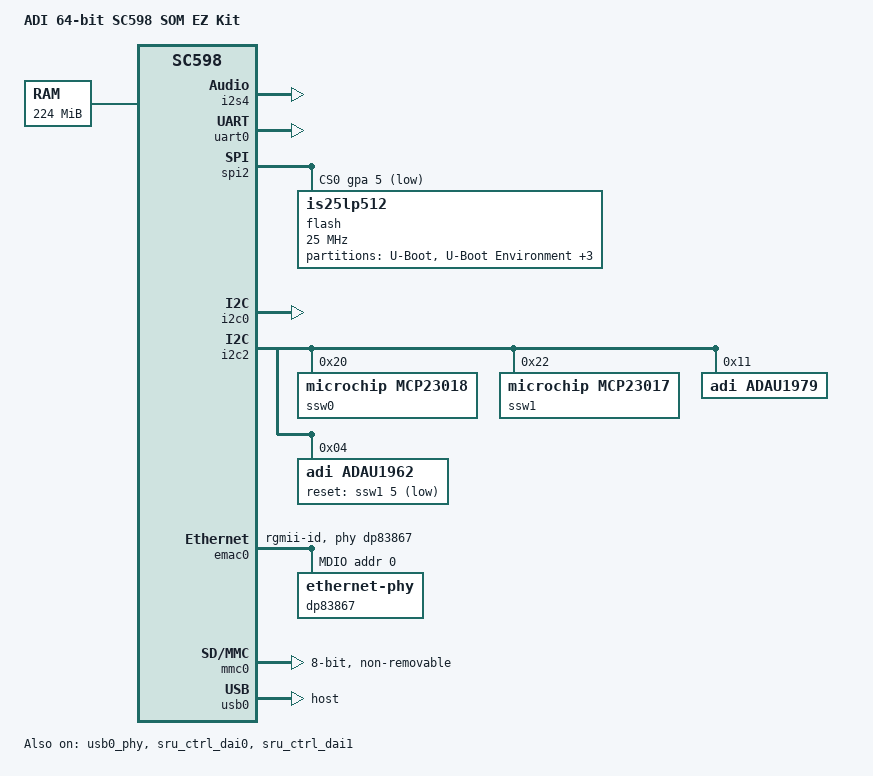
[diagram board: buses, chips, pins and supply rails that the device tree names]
/*
 * Copyright (c) 2021 Analog Devices Incorporated
 * Author: Nathan Barrett-Morrison <nathan.morrison@timesys.com>
 */

/dts-v1/;

#include <dt-bindings/gpio/gpio.h>
#include <dt-bindings/net/ti-dp83867.h>
#include <dt-bindings/pinctrl/adi-adsp.h>
#include <dt-bindings/pinctrl/adi-adsp-sru.h>
#include "sc59x-64.dtsi"

/ {
	model = "ADI 64-bit SC598 SOM EZ Kit";
	compatible = "adi,sc598-som-ezkit", "adi,sc59x-64";

	chosen {
		stdout-path = &uart1;
		bootargs = "root=/dev/mtdblock4 rw rootfstype=jffs2 earlycon=adi_uart,0x31003000 console=ttySC0,115200 mem=224M";
	};

	memory@90000000 {
		device_type = "memory";
		reg = <0x90000000 0x0e000000>;
	};

	reserved-memory {
		vdev0vrings: vdev0vring0@20080000 {
			reg = <0x20080000 0x4000>;
			no-map;
		};

		vdev0buffer: vdev0buffer@20084000 {
			compatible = "shared-dma-pool";
			reg = <0x20084000 0x20000>;
			no-map;
		};

		vdev1vrings: vdev0vring0@200A4000 {
			reg = <0x200A4000 0x4000>;
			no-map;
		};

		vdev1buffer: vdev0buffer@200A8000 {
			compatible = "shared-dma-pool";
			reg = <0x200A8000 0x20000>;
			no-map;
		};
	};

	sram2: sram-reserved@200C8000 {
		compatible = "mmio-sram";
		#address-cells = <1>;
		#size-cells = <1>;
		reg = <0x200C8000 0x138000>;
		ranges = <0 0x200C8000 0x138000>; /*1248KiB*/
	};

	scb {
		sharc0: core1-rproc@0x28240000 {
			compatible = "adi,remoteproc";
			reg = <0x28240000 0x160000>,
					<0x20000000 0x200000>;
			core-id = <1>;
			core-irq = <106>; /* SOFT1 */
			firmware-name = "adi_adsp_core1_fw.ldr";
			interrupts = <GIC_SPI 337 IRQ_TYPE_EDGE_RISING>; /* TRU0_SLV3 */
			adi,rcu = <&rcu>;
			adi,l1-da = <0x240000 0x3a0000>;
			adi,l2-da = <0x20000000 0x20200000>;
			adi,rsc-table = <&rsc_tbl0>;
			adi,verify = <1>;
			adi,tru = <&tru>;
			adi,tru-master-id = <135>; /* trigger master SOFT4 */
			status = "okay";
		};

		sharc1: core2-rproc@0x28a40000 {
			compatible = "adi,remoteproc";
			reg = <0x28a40000 0x160000>,
					<0x20000000 0x200000>;
			core-id = <2>;
			core-irq = <107>; /* SOFT2 */
			firmware-name = "adi_adsp_core2_fw.ldr";
			interrupts = <GIC_SPI 337 IRQ_TYPE_EDGE_RISING>; /* TRU0_SLV3 */
			adi,rcu = <&rcu>;
			adi,l1-da = <0x240000 0x3a0000>;
			adi,l2-da = <0x20000000 0x20200000>;
			adi,rsc-table = <&rsc_tbl1>;
			adi,verify = <1>;
			adi,tru = <&tru>;
			adi,tru-master-id = <136>; /* trigger master SOFT5 */
			status = "okay";
		};

		sound {
			compatible = "sc5xx,asoc-card";
			adi,cpu-dai = <&i2s4>;
			adi,codec = <&adau1962>, <&adau1979>;
		};

//		firmware {
//			optee {
//				compatible = "linaro,optee-tz";
//				method = "smc";
//			};
//		};

	};

};

&i2s4 {
	pinctrl-names = "default";
	pinctrl-0 = <&sru_dai1>;
	status = "okay";
};

&tru {
	rpmsg_to_a55: channel@0 {
		adi,tru-master-id = <134>; /* trigger master SOFT3 */
		adi,tru-slave-id = <160>; /* TRU0_IRQ3 */
	};
	rpmsg_to_sharc0: channel@1 {
		adi,tru-master-id = <135>; /* trigger master SOFT4 */
		adi,tru-slave-id = <164>; /* TRU0_IRQ7 */
	};
	rpmsg_to_sharc1: channel@2 {
		adi,tru-master-id = <136>; /* trigger master SOFT5 */
		adi,tru-slave-id = <168>; /* TRU0_IRQ11 */
	};
};

&thermal {
	status = "okay";
	adi,gain = <0x6>;
	adi,offset = <0x7D86>;
	adi,trip-alert = <60>;
	adi,trip-fault = <85>;
	/* adi,average; */
};

&uart0 {
	/* enable-pin = <&ssw0 5 GPIO_ACTIVE_LOW>;	 UART0_EN */
	/* hwflow-en-pin = <&ssw0 6 GPIO_ACTIVE_LOW>;  UART0_FLOW_EN */
	pinctrl-names = "default";
	pinctrl-0 = <&uart0_default>;
	status = "okay";
};

&spi0 {
	pinctrl-names = "default";
	pinctrl-0 = <&spi0_default>;
	status = "disabled";

	spidev@9{
		compatible = "adi,generic-spidev";
		reg = <9>;  // SPI0_SSEL1 / GPIO_PA9
		spi-max-frequency = <4000000>;
	};
};

&spi1 {
	pinctrl-names = "default";
	pinctrl-0 = <&spi1_default>;
	status = "disabled";
	cs-gpios = <&gpa 13 GPIO_ACTIVE_LOW>;

	spidev@0 {
		compatible = "adi,generic-spidev";
		reg = <0>;
		spi-max-frequency = <4000000>;
	};
};

&spi3 {
	pinctrl-names = "default";
	pinctrl-0 = <&spi3_default>;
	status = "disabled";
	cs-gpios = <&gpg 15 GPIO_ACTIVE_LOW>;

	spidev@0 {
		compatible = "adi,generic-spidev";
		reg = <0>;
		spi-max-frequency = <4000000>;
	};
};

&spi2 {
	pinctrl-names = "default";
	pinctrl-0 = <&spi2_quad>;
	status = "okay";
	cs-gpios = <&gpa 5 GPIO_ACTIVE_LOW>;

	flash: is25lp512@0 {
		#address-cells = <1>;
		#size-cells = <1>;
		compatible = "is25lp512", "jedec,spi-nor";
		reg = <0>;
		spi-cpha;
		spi-cpol;
		spi-max-frequency = <25000000>;
		spi-rx-bus-width = <4>;

		partition@0 {
			label = "U-Boot";
			reg = <0x0 0xC0000>;
		};

		partition@1 {
			label = "U-Boot Environment";
			reg = <0xC0000 0x20000>;
		};

		partition@2 {
			label = "Device Tree Blob";
			reg = <0xE0000 0x20000>;
		};

		partition@3 {
			label = "Kernel zImage";
			reg = <0x100000 0xF00000>;
		};

		partition@4 {
			label = "JFFS2 Formatted RFS";
			reg = <0x1000000 0x3000000>;
		};

	};
};

&ospi {
	pinctrl-names = "default";
	pinctrl-0 = <&ospi_default>;

	status = "disabled";

	flash0: mx66lm1g45@0 {
		#address-cells = <1>;
		#size-cells = <1>;
		compatible = "mx66lm1g45";
		reg = <0>;
		spi-max-frequency = <83333334>;

		/*m25p,fast-read;*/

		cdns,page-size = <256>;
		cdns,block-size = <16>;
		cdns,read-delay = <4>;
		cdns,tshsl-ns = <50>;
		cdns,tsd2d-ns = <50>;
		cdns,tchsh-ns = <4>;
		cdns,tslch-ns = <4>;

		partitions {
			compatible = "fixed-partitions";
			#address-cells = <1>;
			#size-cells = <1>;

			ospi_0: partition@0 {
				label = "U-Boot";
				reg = <0x0 0xC0000>;
			};

			ospi_1: partition@1 {
				label = "U-Boot Environment";
				reg = <0xC0000 0x20000>;
			};

			ospi_2: partition@2 {
				label = "Device Tree Blob";
				reg = <0xE0000 0x20000>;
			};

			ospi_3: partition@3 {
				label = "Kernel zImage";
				reg = <0x100000 0xF00000>;
			};

			ospi_4: partition@4 {
				label = "JFFS2 Formatted RFS";
				reg = <0x1000000 0x3000000>;
			};
		};
	};
};

&i2c0 {
	status = "okay";
};

&i2c1 {
	status = "disabled";
};

&i2c2 {
	status = "okay";
	pinctrl-names = "default";
	pinctrl-0 = <&i2c2_pins>;

	ssw0: gpio@0x20 {
		compatible = "microchip,mcp23018";
		gpio-controller;
		#gpio-cells = <2>;
		reg = <0x20>;
		status = "okay";

		pinctrl-names = "default";
		pinctrl-0 = <&ssw0pullups>;

		ssw0pullups: pinmux {
			bias-pull-up;
			pins = "gpio0", "gpio1", "gpio2", "gpio3",
				"gpio4", "gpio5", "gpio6", "gpio8", "gpio9";
		};

		led1 {
			gpio-hog;
			gpios = <0 0x0>;
			output-high;
			line-name = "led1-en";
		};

		led2 {
			gpio-hog;
			gpios = <1 0x0>;
			output-high;
			line-name = "led2-en";
		};

		led3 {
			gpio-hog;
			gpios = <2 0x0>;
			output-high;
			line-name = "led3-en";
		};

		spi2d2-d3 {
			gpio-hog;
			gpios = <3 0x0>;
			output-low;
			line-name = "~spi2d2-d3-en";
		};

		spi2flash-cs {
			gpio-hog;
			gpios = <4 0x0>;
			output-low;
			line-name = "~spi2flash-cs";
		};

		uart0 {
			gpio-hog;
			gpios = <5 0x0>;
			output-low;
			line-name = "~uart0-en";
		};

		uart0-flow-en {
			gpio-hog;
			gpios = <6 0x0>;
			output-high;
			line-name = "~uart0-flow-en";
		};

		emmc {
			gpio-hog;
			gpios = <8 0x0>;
			output-low;
			line-name = "emmc-en";
		};

		emmc-som-en {
			gpio-hog;
			gpios = <9 0x0>;
			output-high;
			line-name = "emmc-som-en";
		};
	};

	ssw1: gpio@0x22 {
		compatible = "microchip,mcp23017";
		gpio-controller;
		#gpio-cells = <2>;
		reg = <0x22>;
		status = "okay";

		eeprom {
			gpio-hog;
			gpios = <0 0x0>;
			output-low;
			line-name = "eeprom-en";
		};

		pushbutton {
			gpio-hog;
			gpios = <1 0x0>;
			output-low;
			line-name = "pushbutton-en";
		};

		microsd {
			gpio-hog;
			gpios = <2 0x0>;
			output-high;
			line-name = "~microsd-spi";
		};

		ftdi {
			gpio-hog;
			gpios = <3 0x0>;
			output-low;
			line-name = "~ftdi-usb-en";
		};

		can {
			gpio-hog;
			gpios = <4 0x0>;
			output-high;
			line-name = "~can-en";
		};

		adau1962 {
			gpio-hog;
			gpios = <6 0x0>;
			output-low;
			line-name = "adau1962-en";
		};

		adau1979 {
			gpio-hog;
			gpios = <7 0x0>;
			output-low;
			line-name = "adau1979-en";
		};

		octal {
			gpio-hog;
			gpios = <8 0x0>;
			output-low;
			line-name = "octal-spi-cs-en";
		};

		spdif-dig {
			gpio-hog;
			gpios = <9 0x0>;
			output-high;
			line-name = "~spdif-digital-en";
		};

		spdif-opt {
			gpio-hog;
			gpios = <10 0x0>;
			output-high;
			line-name = "~spdif-optical-en";
		};

		audio-jack {
			gpio-hog;
			gpios = <11 0x0>;
			output-high;
			line-name = "audio-jack-sel";
		};

		mlb {
			gpio-hog;
			gpios = <12 0x0>;
			output-high;
			line-name = "~mlb-en";
		};

		eth1 {
			gpio-hog;
			gpios = <13 0x0>;
			output-low; 
			line-name = "~eth1-en";
		};

		eth1-reset {
			gpio-hog;
			gpios = <14 0x0>;
/* USB0 lines are shared with Eth1 so  Eth PHY must be held in reset 
   when using the USB */
			output-low;
			line-name = "~eth1-reset";
		};

		gige-reset {
			gpio-hog;
			gpios = <15 0x0>;
			output-high;
			line-name = "~gige-reset";
		};
	};

	adau1979: adau1979@0x11 {
		compatible = "adi,adau1979";
		reg = <0x11>;
	};

	adau1962: adau1962@0x4 {
		compatible = "adi,adau1962";
		reg = <0x4>;
		reset-gpios = <&ssw1 5 GPIO_ACTIVE_LOW>;
	};
};

&emac0 {
	snps,reset-active-low;
	snps,reset-delays-us = <0 200 500>;
	phy-handle = <&dp83867>;
	phy-mode = "rgmii-id";
	pinctrl-names = "default";
	pinctrl-0 = <&eth0_default>;
	status = "okay";
	snps,mtl-rx-config = <&emac0rxconfig>;
	snps,mtl-tx-config = <&emac0txconfig>;

	emac0txconfig: tx-config {
		snps,tx-queues-to-use = <3>;

		queue0 {
			snps,dcb-algorithm;
		};

		queue1 {
			snps,dcb-algorithm;
		};

		queue2 {
			snps,dcb-algorithm;
		};
	};

	emac0rxconfig: rx-config {
		snps,rx-queues-to-use = <1>;

		queue0 {
			snps,dcb-algorithm;
		};

		queue1 {
			snps,dcb-algorithm;
		};

		queue2 {
			snps,dcb-algorithm;
		};
	};

	mdio0 {
		compatible = "snps,dwmac-mdio";
		#address-cells = <1>;
		#size-cells = <0>;
		dp83867: ethernet-phy@0 {
			reg = <0>;
			ti,rx-internal-delay = <DP83867_RGMIIDCTL_2_00_NS>;
			ti,tx-internal-delay = <DP83867_RGMIIDCTL_2_00_NS>;
			ti,fifo-depth = <DP83867_PHYCR_FIFO_DEPTH_8_B_NIB>;
			ti,dp83867-rxctrl-strap-quirk;
		};
	};
};

&emac1 {
	phy-handle = <&dp83848>;
	phy-mode = "rmii";
	pinctrl-names = "default";
	pinctrl-0 = <&eth1_default>;
	status = "disabled";

	mdio1 {
		compatible = "snps,dwmac-mdio";
		#address-cells = <1>;
		#size-cells = <0>;
		dp83848: ethernet-phy@1 {
			reg = <1>;
		};
	};

};

&mmc0{
	pinctrl-names = "default";
	pinctrl-0 = <&mmc0_8bgrp>;
	bus-width = <8>;
	max-frequency = <50000000>;
	non-removable;
	status = "okay";
};

&usb0_phy {
	reset-gpios = <&gpg 11 GPIO_ACTIVE_LOW>;
	status = "okay";
};

&usb0 {
	dr_mode = "host";
	pinctrl-names = "default";
	pinctrl-0 = <&usbc0_default>;
	status = "okay";
};

&sram_mmap {
	status = "okay";
};

&pinctrl0 {
	uart0_default: uart0_default_pins {
		pins {
			pinmux = <ADI_ADSP_PINMUX('A', 6, ADI_ADSP_PINFUNC_ALT1)>,
					 <ADI_ADSP_PINMUX('A', 7, ADI_ADSP_PINFUNC_ALT1)>;
		};
	};
	uart0_hwflow: uart0_hwflow_pins {
		pins {
			pinmux = <ADI_ADSP_PINMUX('A', 6, ADI_ADSP_PINFUNC_ALT1)>,
					 <ADI_ADSP_PINMUX('A', 7, ADI_ADSP_PINFUNC_ALT1)>,
					 <ADI_ADSP_PINMUX('A', 8, ADI_ADSP_PINFUNC_ALT1)>,
					 <ADI_ADSP_PINMUX('A', 9, ADI_ADSP_PINFUNC_ALT1)>;
		};
	};
	spi0_default: spi0_default_pins {
		pins {
			pinmux = <ADI_ADSP_PINMUX('A', 6, ADI_ADSP_PINFUNC_ALT0)>,
			         <ADI_ADSP_PINMUX('A', 7, ADI_ADSP_PINFUNC_ALT0)>,
					 <ADI_ADSP_PINMUX('A', 8, ADI_ADSP_PINFUNC_ALT0)>;
		};
	};
	spi1_default: spi1_default_pins {
		pins {
			pinmux = <ADI_ADSP_PINMUX('A', 10, ADI_ADSP_PINFUNC_ALT1)>,
			         <ADI_ADSP_PINMUX('A', 11, ADI_ADSP_PINFUNC_ALT1)>,
					 <ADI_ADSP_PINMUX('A', 12, ADI_ADSP_PINFUNC_ALT1)>;
		};
	};
	spi2_quad: spi2_quad_pins {
		pins {
			pinmux = <ADI_ADSP_PINMUX('A', 0, ADI_ADSP_PINFUNC_ALT0)>,
			         <ADI_ADSP_PINMUX('A', 1, ADI_ADSP_PINFUNC_ALT0)>,
			         <ADI_ADSP_PINMUX('A', 2, ADI_ADSP_PINFUNC_ALT0)>,
			         <ADI_ADSP_PINMUX('A', 3, ADI_ADSP_PINFUNC_ALT0)>,
					 <ADI_ADSP_PINMUX('A', 4, ADI_ADSP_PINFUNC_ALT0)>;
		};
	};
	spi3_default: spi3_default_pins {
		pins {
			pinmux = <ADI_ADSP_PINMUX('G', 5, ADI_ADSP_PINFUNC_ALT0)>,
			         <ADI_ADSP_PINMUX('G', 6, ADI_ADSP_PINFUNC_ALT0)>,
					 <ADI_ADSP_PINMUX('G', 7, ADI_ADSP_PINFUNC_ALT0)>;
		};
	};
	ospi_default: ospi_default_pins {
		pins {
			pinmux = <ADI_ADSP_PINMUX('A', 0, ADI_ADSP_PINFUNC_ALT1)>,
			         <ADI_ADSP_PINMUX('A', 1, ADI_ADSP_PINFUNC_ALT1)>,
			         <ADI_ADSP_PINMUX('A', 2, ADI_ADSP_PINFUNC_ALT1)>,
			         <ADI_ADSP_PINMUX('A', 3, ADI_ADSP_PINFUNC_ALT1)>,
			         <ADI_ADSP_PINMUX('A', 4, ADI_ADSP_PINFUNC_ALT1)>,
			         <ADI_ADSP_PINMUX('A', 5, ADI_ADSP_PINFUNC_ALT1)>,
			         <ADI_ADSP_PINMUX('A', 6, ADI_ADSP_PINFUNC_ALT2)>,
			         <ADI_ADSP_PINMUX('A', 7, ADI_ADSP_PINFUNC_ALT2)>,
			         <ADI_ADSP_PINMUX('A', 8, ADI_ADSP_PINFUNC_ALT2)>,
			         <ADI_ADSP_PINMUX('A', 9, ADI_ADSP_PINFUNC_ALT2)>,
			         <ADI_ADSP_PINMUX('D', 4, ADI_ADSP_PINFUNC_ALT2)>;
		};
	};
	i2c2_pins: i2c2_default_pins {
		pins {
			pinmux = <ADI_ADSP_PINMUX('A', 14, ADI_ADSP_PINFUNC_ALT0)>,
			         <ADI_ADSP_PINMUX('A', 15, ADI_ADSP_PINFUNC_ALT0)>;
		};
	};
	eth0_default: eth0_default_pins {
		pins {
			pinmux = <ADI_ADSP_PINMUX('H', 3, ADI_ADSP_PINFUNC_ALT0)>,
			         <ADI_ADSP_PINMUX('H', 4, ADI_ADSP_PINFUNC_ALT0)>,
			         <ADI_ADSP_PINMUX('H', 5, ADI_ADSP_PINFUNC_ALT0)>,
			         <ADI_ADSP_PINMUX('H', 6, ADI_ADSP_PINFUNC_ALT0)>,
			         <ADI_ADSP_PINMUX('H', 7, ADI_ADSP_PINFUNC_ALT0)>,
			         <ADI_ADSP_PINMUX('H', 8, ADI_ADSP_PINFUNC_ALT0)>,
			         <ADI_ADSP_PINMUX('H', 9, ADI_ADSP_PINFUNC_ALT0)>,
			         <ADI_ADSP_PINMUX('H', 10, ADI_ADSP_PINFUNC_ALT0)>,
			         <ADI_ADSP_PINMUX('H', 11, ADI_ADSP_PINFUNC_ALT0)>,
			         <ADI_ADSP_PINMUX('H', 12, ADI_ADSP_PINFUNC_ALT0)>,
			         <ADI_ADSP_PINMUX('H', 13, ADI_ADSP_PINFUNC_ALT0)>,
			         <ADI_ADSP_PINMUX('H', 14, ADI_ADSP_PINFUNC_ALT0)>,
			         <ADI_ADSP_PINMUX('H', 15, ADI_ADSP_PINFUNC_ALT0)>,
			         <ADI_ADSP_PINMUX('I', 0, ADI_ADSP_PINFUNC_ALT0)>;
		};
	};
	eth1_default: eth1_default_pins {
		pins {
			pinmux = <ADI_ADSP_PINMUX('E', 11, ADI_ADSP_PINFUNC_ALT0)>,
			         <ADI_ADSP_PINMUX('E', 12, ADI_ADSP_PINFUNC_ALT0)>,
			         <ADI_ADSP_PINMUX('E', 13, ADI_ADSP_PINFUNC_ALT0)>,
			         <ADI_ADSP_PINMUX('E', 14, ADI_ADSP_PINFUNC_ALT0)>,
			         <ADI_ADSP_PINMUX('E', 15, ADI_ADSP_PINFUNC_ALT0)>,
			         <ADI_ADSP_PINMUX('F', 0, ADI_ADSP_PINFUNC_ALT0)>,
			         <ADI_ADSP_PINMUX('F', 1, ADI_ADSP_PINFUNC_ALT0)>,
			         <ADI_ADSP_PINMUX('F', 2, ADI_ADSP_PINFUNC_ALT0)>,
			         <ADI_ADSP_PINMUX('F', 3, ADI_ADSP_PINFUNC_ALT0)>;
		};
	};
	mmc0_8bgrp: mmc0_8bgrp_pins {
		pins {
			pinmux = <ADI_ADSP_PINMUX('D', 15, ADI_ADSP_PINFUNC_ALT1)>,
			         <ADI_ADSP_PINMUX('B', 15, ADI_ADSP_PINFUNC_ALT2)>,
			         <ADI_ADSP_PINMUX('C', 4, ADI_ADSP_PINFUNC_ALT2)>,
			         <ADI_ADSP_PINMUX('C', 6, ADI_ADSP_PINFUNC_ALT2)>,
			         <ADI_ADSP_PINMUX('E', 1, ADI_ADSP_PINFUNC_ALT1)>,
					 <ADI_ADSP_PINMUX('E', 6, ADI_ADSP_PINFUNC_ALT2)>,
					 <ADI_ADSP_PINMUX('E', 8, ADI_ADSP_PINFUNC_ALT1)>,
					 <ADI_ADSP_PINMUX('E', 9, ADI_ADSP_PINFUNC_ALT1)>,
					 <ADI_ADSP_PINMUX('G', 1, ADI_ADSP_PINFUNC_ALT2)>,
					 <ADI_ADSP_PINMUX('G', 2, ADI_ADSP_PINFUNC_ALT2)>,
					 <ADI_ADSP_PINMUX('G', 8, ADI_ADSP_PINFUNC_ALT1)>,
					 <ADI_ADSP_PINMUX('G', 9, ADI_ADSP_PINFUNC_ALT3)>,
					 <ADI_ADSP_PINMUX('G', 10, ADI_ADSP_PINFUNC_ALT1)>,
					 <ADI_ADSP_PINMUX('I', 6, ADI_ADSP_PINFUNC_ALT1)>;
		};
	};
	usbc0_default: usbc0_default_pins {
		pins {
			pinmux = <ADI_ADSP_PINMUX('F', 3, ADI_ADSP_PINFUNC_ALT2)>,
			         <ADI_ADSP_PINMUX('F', 4, ADI_ADSP_PINFUNC_ALT2)>,
			         <ADI_ADSP_PINMUX('F', 5, ADI_ADSP_PINFUNC_ALT2)>,
			         <ADI_ADSP_PINMUX('F', 6, ADI_ADSP_PINFUNC_ALT2)>,
			         <ADI_ADSP_PINMUX('F', 7, ADI_ADSP_PINFUNC_ALT2)>,
			         <ADI_ADSP_PINMUX('F', 8, ADI_ADSP_PINFUNC_ALT2)>,
			         <ADI_ADSP_PINMUX('F', 9, ADI_ADSP_PINFUNC_ALT2)>,
			         <ADI_ADSP_PINMUX('F', 10, ADI_ADSP_PINFUNC_ALT2)>,
			         <ADI_ADSP_PINMUX('F', 11, ADI_ADSP_PINFUNC_ALT2)>,
			         <ADI_ADSP_PINMUX('F', 12, ADI_ADSP_PINFUNC_ALT2)>,
			         <ADI_ADSP_PINMUX('F', 13, ADI_ADSP_PINFUNC_ALT2)>,
			         <ADI_ADSP_PINMUX('F', 14, ADI_ADSP_PINFUNC_ALT2)>;
		};
	};
};

&sru_ctrl_dai0 {
	status = "okay";
};

&sru_ctrl_dai1 {
	status = "okay";

	sru_dai1: sru_dai1_mux {
		route {
			sru-routing =
				<DAI1_LOW_F          DAI1_PBEN05_I>,  /* set DAI1_PIN0B to input */
				<DAI1_PB05_O_ABCDE   SPT4_ACLK_I>,    /* route DAI1_PIN0B to SPT4_ACLK */
				<DAI1_LOW_F          DAI1_PBEN04_I>,  /* set DAI1_PIN04 to input */
				<DAI1_PB04_O_ABCDE   SPT4_AFS_I>,     /* route DAI1_PIN04 to SPT4_AFS */
				<DAI1_HIGH_F         DAI1_PBEN01_I>,  /* set DAI1_PIN01 to output */
				<SPT4_AD0_O_BD       DAI1_PB01_I>,    /* route SPT4_AD0 to DAI1_PIN01 */
				<DAI1_LOW_F          DAI1_PBEN12_I>,  /* set DAI1_PIN12 to input */
				<DAI1_PB12_O_ABCDE   SPT4_BCLK_I>,    /* route DAI1_PIN12 to SPT4_BCLK */
				<DAI1_LOW_F          DAI1_PBEN20_I>,  /* set DAI1_PIN20 to input */
				<DAI1_PB20_O_ABCDE   SPT4_BFS_I>,     /* route DAI1_PIN20 to SPT4_BFS */
				<DAI1_LOW_F          DAI1_PBEN06_I>,  /* set DAI1_PIN06 to input */
				<DAI1_PB06_O_ABCDE   SPT4_BD0_I>;     /* route DAI1_PIN06 to SPT4_BD0 */
		};
	};
};
